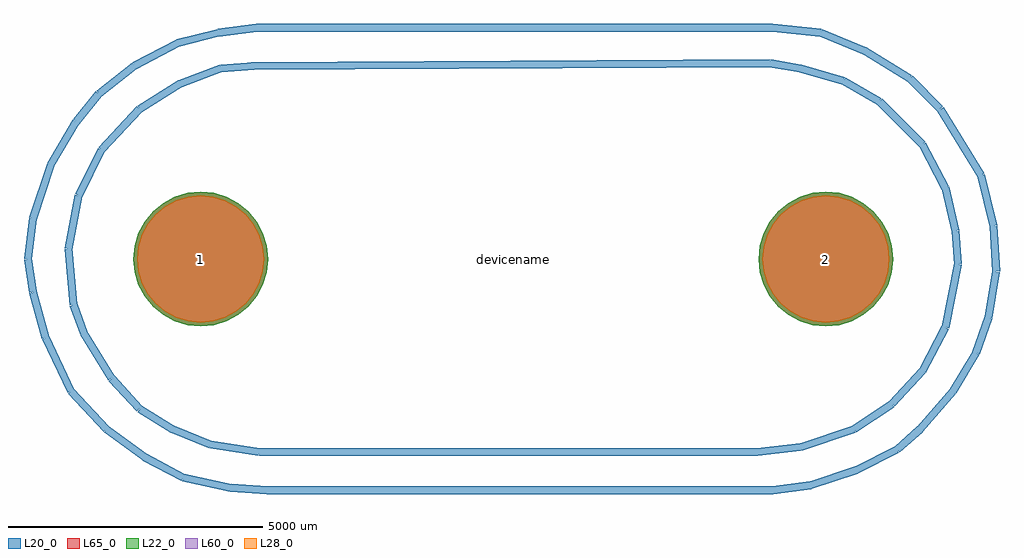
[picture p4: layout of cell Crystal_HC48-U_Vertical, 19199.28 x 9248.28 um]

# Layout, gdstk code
import gdstk
lib = gdstk.Library(unit=1e-6, precision=1e-09)
def P(c, l, *ps):  # polygons
    for p in ps: c.add(gdstk.Polygon(p, *l))
L20_0 = (20, 0)
L22_0 = (22, 0)
L28_0 = (28, 0)
L60_0 = (60, 0)
L65_0 = (65, 0)

crystal_hc48_u_vertical = lib.new_cell('Crystal_HC48-U_Vertical')
P(crystal_hc48_u_vertical, L22_0, [(7474.02,0),(7448.567,258.432),(7373.185,506.933),(7250.771,735.953),(7086.03,936.69),(6885.293,1101.431),(6656.273,1223.845),(6407.772,1299.227),(6149.34,1324.68),(5890.908,1299.227),(5642.407,1223.845),(5413.387,1101.431),(5212.65,936.69),(5047.909,735.953),(4925.495,506.933),(4850.113,258.432),(4824.66,0),(4850.113,-258.432),(4925.495,-506.933),(5047.909,-735.953),(5212.65,-936.69),(5413.387,-1101.431),(5642.407,-1223.845),(5890.908,-1299.227),(6149.34,-1324.68),(6407.772,-1299.227),(6656.273,-1223.845),(6885.293,-1101.431),(7086.03,-936.69),(7250.771,-735.953),(7373.185,-506.933),(7448.567,-258.432)],
  [(-4824.66,0),(-4850.113,258.432),(-4925.495,506.933),(-5047.909,735.953),(-5212.65,936.69),(-5413.387,1101.431),(-5642.407,1223.845),(-5890.908,1299.227),(-6149.34,1324.68),(-6407.772,1299.227),(-6656.273,1223.845),(-6885.293,1101.431),(-7086.03,936.69),(-7250.771,735.953),(-7373.185,506.933),(-7448.567,258.432),(-7474.02,0),(-7448.567,-258.432),(-7373.185,-506.933),(-7250.771,-735.953),(-7086.03,-936.69),(-6885.293,-1101.431),(-6656.273,-1223.845),(-6407.772,-1299.227),(-6149.34,-1324.68),(-5890.908,-1299.227),(-5642.407,-1223.845),(-5413.387,-1101.431),(-5212.65,-936.69),(-5047.909,-735.953),(-4925.495,-506.933),(-4850.113,-258.432)])
P(crystal_hc48_u_vertical, L28_0, [(7399.02,0),(7375.008,243.8),(7303.894,478.232),(7188.411,694.285),(7032.997,883.657),(6843.625,1039.071),(6627.572,1154.554),(6393.14,1225.668),(6149.34,1249.68),(5905.54,1225.668),(5671.108,1154.554),(5455.055,1039.071),(5265.683,883.657),(5110.269,694.285),(4994.786,478.232),(4923.672,243.8),(4899.66,0),(4923.672,-243.8),(4994.786,-478.232),(5110.269,-694.285),(5265.683,-883.657),(5455.055,-1039.071),(5671.108,-1154.554),(5905.54,-1225.668),(6149.34,-1249.68),(6393.14,-1225.668),(6627.572,-1154.554),(6843.625,-1039.071),(7032.997,-883.657),(7188.411,-694.285),(7303.894,-478.232),(7375.008,-243.8)],
  [(-4899.66,0),(-4923.672,243.8),(-4994.786,478.232),(-5110.269,694.285),(-5265.683,883.657),(-5455.055,1039.071),(-5671.108,1154.554),(-5905.54,1225.668),(-6149.34,1249.68),(-6393.14,1225.668),(-6627.572,1154.554),(-6843.625,1039.071),(-7032.997,883.657),(-7188.411,694.285),(-7303.894,478.232),(-7375.008,243.8),(-7399.02,0),(-7375.008,-243.8),(-7303.894,-478.232),(-7188.411,-694.285),(-7032.997,-883.657),(-6843.625,-1039.071),(-6627.572,-1154.554),(-6393.14,-1225.668),(-6149.34,-1249.68),(-5905.54,-1225.668),(-5671.108,-1154.554),(-5455.055,-1039.071),(-5265.683,-883.657),(-5110.269,-694.285),(-4994.786,-478.232),(-4923.672,-243.8)])
P(crystal_hc48_u_vertical, L60_0, [(7399.02,0),(7375.008,243.8),(7303.894,478.232),(7188.411,694.285),(7032.997,883.657),(6843.625,1039.071),(6627.572,1154.554),(6393.14,1225.668),(6149.34,1249.68),(5905.54,1225.668),(5671.108,1154.554),(5455.055,1039.071),(5265.683,883.657),(5110.269,694.285),(4994.786,478.232),(4923.672,243.8),(4899.66,0),(4923.672,-243.8),(4994.786,-478.232),(5110.269,-694.285),(5265.683,-883.657),(5455.055,-1039.071),(5671.108,-1154.554),(5905.54,-1225.668),(6149.34,-1249.68),(6393.14,-1225.668),(6627.572,-1154.554),(6843.625,-1039.071),(7032.997,-883.657),(7188.411,-694.285),(7303.894,-478.232),(7375.008,-243.8)],
  [(-4899.66,0),(-4923.672,243.8),(-4994.786,478.232),(-5110.269,694.285),(-5265.683,883.657),(-5455.055,1039.071),(-5671.108,1154.554),(-5905.54,1225.668),(-6149.34,1249.68),(-6393.14,1225.668),(-6627.572,1154.554),(-6843.625,1039.071),(-7032.997,883.657),(-7188.411,694.285),(-7303.894,478.232),(-7375.008,243.8),(-7399.02,0),(-7375.008,-243.8),(-7303.894,-478.232),(-7188.411,-694.285),(-7032.997,-883.657),(-6843.625,-1039.071),(-6627.572,-1154.554),(-6393.14,-1225.668),(-6149.34,-1249.68),(-5905.54,-1225.668),(-5671.108,-1154.554),(-5455.055,-1039.071),(-5265.683,-883.657),(-5110.269,-694.285),(-4994.786,-478.232),(-4923.672,-243.8)])
P(crystal_hc48_u_vertical, L65_0, [(7474.02,0),(7448.567,258.432),(7373.185,506.933),(7250.771,735.953),(7086.03,936.69),(6885.293,1101.431),(6656.273,1223.845),(6407.772,1299.227),(6149.34,1324.68),(5890.908,1299.227),(5642.407,1223.845),(5413.387,1101.431),(5212.65,936.69),(5047.909,735.953),(4925.495,506.933),(4850.113,258.432),(4824.66,0),(4850.113,-258.432),(4925.495,-506.933),(5047.909,-735.953),(5212.65,-936.69),(5413.387,-1101.431),(5642.407,-1223.845),(5890.908,-1299.227),(6149.34,-1324.68),(6407.772,-1299.227),(6656.273,-1223.845),(6885.293,-1101.431),(7086.03,-936.69),(7250.771,-735.953),(7373.185,-506.933),(7448.567,-258.432)],
  [(-4824.66,0),(-4850.113,258.432),(-4925.495,506.933),(-5047.909,735.953),(-5212.65,936.69),(-5413.387,1101.431),(-5642.407,1223.845),(-5890.908,1299.227),(-6149.34,1324.68),(-6407.772,1299.227),(-6656.273,1223.845),(-6885.293,1101.431),(-7086.03,936.69),(-7250.771,735.953),(-7373.185,506.933),(-7448.567,258.432),(-7474.02,0),(-7448.567,-258.432),(-7373.185,-506.933),(-7250.771,-735.953),(-7086.03,-936.69),(-6885.293,-1101.431),(-6656.273,-1223.845),(-6407.772,-1299.227),(-6149.34,-1324.68),(-5890.908,-1299.227),(-5642.407,-1223.845),(-5413.387,-1101.431),(-5212.65,-936.69),(-5047.909,-735.953),(-4925.495,-506.933),(-4850.113,-258.432)])
crystal_hc48_u_vertical.add(gdstk.FlexPath([(5849.62,-4450.08),(5100.32,-4549.14)], 149.998, ends="flush", simple_path=True, layer=20, datatype=0))  # L20_0
crystal_hc48_u_vertical.add(gdstk.FlexPath([(6748.78,-4150.36),(5849.62,-4450.08)], 149.998, ends="flush", simple_path=True, layer=20, datatype=0))  # L20_0
crystal_hc48_u_vertical.add(gdstk.FlexPath([(7548.88,-3749.04),(6748.78,-4150.36)], 149.998, ends="flush", simple_path=True, layer=20, datatype=0))  # L20_0
crystal_hc48_u_vertical.add(gdstk.FlexPath([(8001,-3350.26),(7548.88,-3749.04)], 149.998, ends="flush", simple_path=True, layer=20, datatype=0))  # L20_0
crystal_hc48_u_vertical.add(gdstk.FlexPath([(8651.24,-2600.96),(8001,-3350.26)], 149.998, ends="flush", simple_path=True, layer=20, datatype=0))  # L20_0
crystal_hc48_u_vertical.add(gdstk.FlexPath([(9100.82,-1849.12),(8651.24,-2600.96)], 149.998, ends="flush", simple_path=True, layer=20, datatype=0))  # L20_0
crystal_hc48_u_vertical.add(gdstk.FlexPath([(9349.74,-1150.62),(9100.82,-1849.12)], 149.998, ends="flush", simple_path=True, layer=20, datatype=0))  # L20_0
crystal_hc48_u_vertical.add(gdstk.FlexPath([(9499.6,-248.92),(9349.74,-1150.62)], 149.998, ends="flush", simple_path=True, layer=20, datatype=0))  # L20_0
crystal_hc48_u_vertical.add(gdstk.FlexPath([(9448.8,650.24),(9499.6,-248.92)], 149.998, ends="flush", simple_path=True, layer=20, datatype=0))  # L20_0
crystal_hc48_u_vertical.add(gdstk.FlexPath([(9199.88,1651),(9448.8,650.24)], 149.998, ends="flush", simple_path=True, layer=20, datatype=0))  # L20_0
crystal_hc48_u_vertical.add(gdstk.FlexPath([(8399.78,2948.94),(9199.88,1651)], 149.998, ends="flush", simple_path=True, layer=20, datatype=0))  # L20_0
crystal_hc48_u_vertical.add(gdstk.FlexPath([(7800.34,3550.92),(8399.78,2948.94)], 149.998, ends="flush", simple_path=True, layer=20, datatype=0))  # L20_0
crystal_hc48_u_vertical.add(gdstk.FlexPath([(6901.18,4099.56),(7800.34,3550.92)], 149.998, ends="flush", simple_path=True, layer=20, datatype=0))  # L20_0
crystal_hc48_u_vertical.add(gdstk.FlexPath([(6050.28,4450.08),(6901.18,4099.56)], 149.998, ends="flush", simple_path=True, layer=20, datatype=0))  # L20_0
crystal_hc48_u_vertical.add(gdstk.FlexPath([(5100.32,4549.14),(6050.28,4450.08)], 149.998, ends="flush", simple_path=True, layer=20, datatype=0))  # L20_0
crystal_hc48_u_vertical.add(gdstk.FlexPath([(-5049.52,4549.14),(5100.32,4549.14)], 149.998, ends="flush", simple_path=True, layer=20, datatype=0))  # L20_0
crystal_hc48_u_vertical.add(gdstk.FlexPath([(-5798.82,4450.08),(-5049.52,4549.14)], 149.998, ends="flush", simple_path=True, layer=20, datatype=0))  # L20_0
crystal_hc48_u_vertical.add(gdstk.FlexPath([(-6598.92,4249.42),(-5798.82,4450.08)], 149.998, ends="flush", simple_path=True, layer=20, datatype=0))  # L20_0
crystal_hc48_u_vertical.add(gdstk.FlexPath([(-7449.82,3799.84),(-6598.92,4249.42)], 149.998, ends="flush", simple_path=True, layer=20, datatype=0))  # L20_0
crystal_hc48_u_vertical.add(gdstk.FlexPath([(-8150.86,3251.2),(-7449.82,3799.84)], 149.998, ends="flush", simple_path=True, layer=20, datatype=0))  # L20_0
crystal_hc48_u_vertical.add(gdstk.FlexPath([(-8600.44,2700.02),(-8150.86,3251.2)], 149.998, ends="flush", simple_path=True, layer=20, datatype=0))  # L20_0
crystal_hc48_u_vertical.add(gdstk.FlexPath([(-9100.82,1849.12),(-8600.44,2700.02)], 149.998, ends="flush", simple_path=True, layer=20, datatype=0))  # L20_0
crystal_hc48_u_vertical.add(gdstk.FlexPath([(-9448.8,800.1),(-9100.82,1849.12)], 149.998, ends="flush", simple_path=True, layer=20, datatype=0))  # L20_0
crystal_hc48_u_vertical.add(gdstk.FlexPath([(-9550.4,0),(-9448.8,800.1)], 149.998, ends="flush", simple_path=True, layer=20, datatype=0))  # L20_0
crystal_hc48_u_vertical.add(gdstk.FlexPath([(-9448.8,-650.24),(-9550.4,0)], 149.998, ends="flush", simple_path=True, layer=20, datatype=0))  # L20_0
crystal_hc48_u_vertical.add(gdstk.FlexPath([(-9199.88,-1549.4),(-9448.8,-650.24)], 149.998, ends="flush", simple_path=True, layer=20, datatype=0))  # L20_0
crystal_hc48_u_vertical.add(gdstk.FlexPath([(-8699.5,-2600.96),(-9199.88,-1549.4)], 149.998, ends="flush", simple_path=True, layer=20, datatype=0))  # L20_0
crystal_hc48_u_vertical.add(gdstk.FlexPath([(-8001,-3350.26),(-8699.5,-2600.96)], 149.998, ends="flush", simple_path=True, layer=20, datatype=0))  # L20_0
crystal_hc48_u_vertical.add(gdstk.FlexPath([(-7249.16,-3898.9),(-8001,-3350.26)], 149.998, ends="flush", simple_path=True, layer=20, datatype=0))  # L20_0
crystal_hc48_u_vertical.add(gdstk.FlexPath([(-6499.86,-4300.22),(-7249.16,-3898.9)], 149.998, ends="flush", simple_path=True, layer=20, datatype=0))  # L20_0
crystal_hc48_u_vertical.add(gdstk.FlexPath([(-5549.9,-4500.88),(-6499.86,-4300.22)], 149.998, ends="flush", simple_path=True, layer=20, datatype=0))  # L20_0
crystal_hc48_u_vertical.add(gdstk.FlexPath([(-4848.86,-4549.14),(-5549.9,-4500.88)], 149.998, ends="flush", simple_path=True, layer=20, datatype=0))  # L20_0
crystal_hc48_u_vertical.add(gdstk.FlexPath([(5100.32,-4549.14),(-4848.86,-4549.14)], 149.998, ends="flush", simple_path=True, layer=20, datatype=0))  # L20_0
crystal_hc48_u_vertical.add(gdstk.FlexPath([(-5750.56,3749.04),(-5100.32,3799.84)], 149.998, ends="flush", simple_path=True, layer=20, datatype=0))  # L20_0
crystal_hc48_u_vertical.add(gdstk.FlexPath([(-6550.66,3449.32),(-5750.56,3749.04)], 149.998, ends="flush", simple_path=True, layer=20, datatype=0))  # L20_0
crystal_hc48_u_vertical.add(gdstk.FlexPath([(-7350.76,2948.94),(-6550.66,3449.32)], 149.998, ends="flush", simple_path=True, layer=20, datatype=0))  # L20_0
crystal_hc48_u_vertical.add(gdstk.FlexPath([(-8100.06,2148.84),(-7350.76,2948.94)], 149.998, ends="flush", simple_path=True, layer=20, datatype=0))  # L20_0
crystal_hc48_u_vertical.add(gdstk.FlexPath([(-8549.64,1249.68),(-8100.06,2148.84)], 149.998, ends="flush", simple_path=True, layer=20, datatype=0))  # L20_0
crystal_hc48_u_vertical.add(gdstk.FlexPath([(-8750.3,200.66),(-8549.64,1249.68)], 149.998, ends="flush", simple_path=True, layer=20, datatype=0))  # L20_0
crystal_hc48_u_vertical.add(gdstk.FlexPath([(-8651.24,-899.16),(-8750.3,200.66)], 149.998, ends="flush", simple_path=True, layer=20, datatype=0))  # L20_0
crystal_hc48_u_vertical.add(gdstk.FlexPath([(-8450.58,-1450.34),(-8651.24,-899.16)], 149.998, ends="flush", simple_path=True, layer=20, datatype=0))  # L20_0
crystal_hc48_u_vertical.add(gdstk.FlexPath([(-7899.4,-2349.5),(-8450.58,-1450.34)], 149.998, ends="flush", simple_path=True, layer=20, datatype=0))  # L20_0
crystal_hc48_u_vertical.add(gdstk.FlexPath([(-7350.76,-2948.94),(-7899.4,-2349.5)], 149.998, ends="flush", simple_path=True, layer=20, datatype=0))  # L20_0
crystal_hc48_u_vertical.add(gdstk.FlexPath([(-6700.52,-3350.26),(-7350.76,-2948.94)], 149.998, ends="flush", simple_path=True, layer=20, datatype=0))  # L20_0
crystal_hc48_u_vertical.add(gdstk.FlexPath([(-5951.22,-3649.98),(-6700.52,-3350.26)], 149.998, ends="flush", simple_path=True, layer=20, datatype=0))  # L20_0
crystal_hc48_u_vertical.add(gdstk.FlexPath([(-5001.26,-3799.84),(-5951.22,-3649.98)], 149.998, ends="flush", simple_path=True, layer=20, datatype=0))  # L20_0
crystal_hc48_u_vertical.add(gdstk.FlexPath([(4800.6,-3799.84),(-5001.26,-3799.84)], 149.998, ends="flush", simple_path=True, layer=20, datatype=0))  # L20_0
crystal_hc48_u_vertical.add(gdstk.FlexPath([(5648.96,-3700.78),(4800.6,-3799.84)], 149.998, ends="flush", simple_path=True, layer=20, datatype=0))  # L20_0
crystal_hc48_u_vertical.add(gdstk.FlexPath([(6700.52,-3350.26),(5648.96,-3700.78)], 149.998, ends="flush", simple_path=True, layer=20, datatype=0))  # L20_0
crystal_hc48_u_vertical.add(gdstk.FlexPath([(7449.82,-2849.88),(6700.52,-3350.26)], 149.998, ends="flush", simple_path=True, layer=20, datatype=0))  # L20_0
crystal_hc48_u_vertical.add(gdstk.FlexPath([(8049.26,-2199.64),(7449.82,-2849.88)], 149.998, ends="flush", simple_path=True, layer=20, datatype=0))  # L20_0
crystal_hc48_u_vertical.add(gdstk.FlexPath([(8498.84,-1348.74),(8049.26,-2199.64)], 149.998, ends="flush", simple_path=True, layer=20, datatype=0))  # L20_0
crystal_hc48_u_vertical.add(gdstk.FlexPath([(8750.3,-99.06),(8498.84,-1348.74)], 149.998, ends="flush", simple_path=True, layer=20, datatype=0))  # L20_0
crystal_hc48_u_vertical.add(gdstk.FlexPath([(8699.5,551.18),(8750.3,-99.06)], 149.998, ends="flush", simple_path=True, layer=20, datatype=0))  # L20_0
crystal_hc48_u_vertical.add(gdstk.FlexPath([(8498.84,1399.54),(8699.5,551.18)], 149.998, ends="flush", simple_path=True, layer=20, datatype=0))  # L20_0
crystal_hc48_u_vertical.add(gdstk.FlexPath([(8049.26,2250.44),(8498.84,1399.54)], 149.998, ends="flush", simple_path=True, layer=20, datatype=0))  # L20_0
crystal_hc48_u_vertical.add(gdstk.FlexPath([(7200.9,3098.8),(8049.26,2250.44)], 149.998, ends="flush", simple_path=True, layer=20, datatype=0))  # L20_0
crystal_hc48_u_vertical.add(gdstk.FlexPath([(6499.86,3500.12),(7200.9,3098.8)], 149.998, ends="flush", simple_path=True, layer=20, datatype=0))  # L20_0
crystal_hc48_u_vertical.add(gdstk.FlexPath([(5648.96,3749.04),(6499.86,3500.12)], 149.998, ends="flush", simple_path=True, layer=20, datatype=0))  # L20_0
crystal_hc48_u_vertical.add(gdstk.FlexPath([(5049.52,3850.64),(5648.96,3749.04)], 149.998, ends="flush", simple_path=True, layer=20, datatype=0))  # L20_0
crystal_hc48_u_vertical.add(gdstk.FlexPath([(-5151.12,3799.84),(5049.52,3850.64)], 149.998, ends="flush", simple_path=True, layer=20, datatype=0))  # L20_0
crystal_hc48_u_vertical.add(gdstk.Label('2', (6149.34,0), layer=28, texttype=0))
crystal_hc48_u_vertical.add(gdstk.Label('1', (-6149.34,0), layer=28, texttype=0))
crystal_hc48_u_vertical.add(gdstk.Label('type', (0,-6350), layer=9, texttype=0))
crystal_hc48_u_vertical.add(gdstk.Label('devicename', (0,0), layer=9, texttype=0))

lib.write_gds('Crystal_HC48-U_Vertical.gds')
